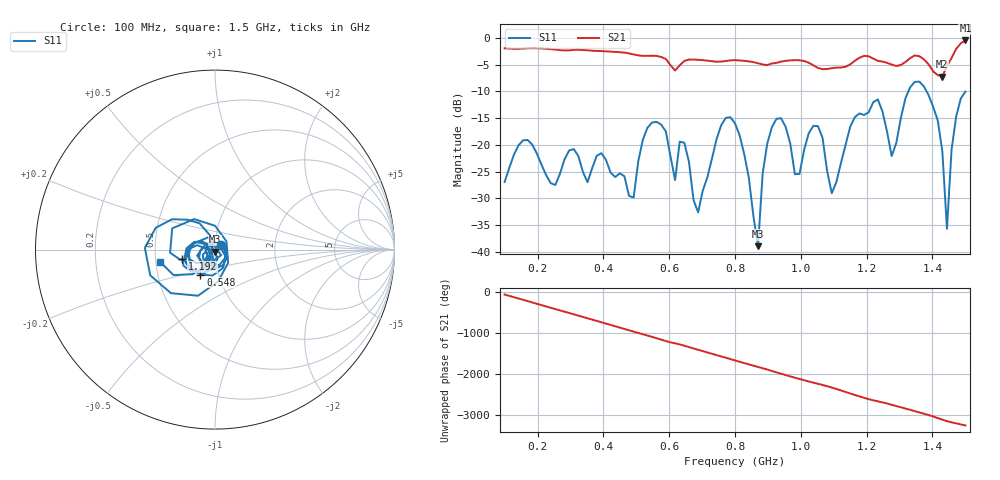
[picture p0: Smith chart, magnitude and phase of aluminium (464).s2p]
! NanoVNA-App
! Date: 2025-09-25 14:58:53
! Start: 100MHz Stop: 1,5GHz Points: 101
! S-Parameter data: F S11 S21 S12 S22
# Hz S RI R 50
!  Frequency  S11_Real  S11_Imag  S21_Real  S21_Imag  S12_Real  S12_Imag  S22_Real  S22_Imag
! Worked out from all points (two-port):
!   101 points, 100 MHz to 1.5 GHz, reference 50 ohm
!   highest |S21| = -0.46 dB at 1.5 GHz (marker M1); lowest = -7.2 dB at 1.43 GHz (marker M2)
!   |S21| within 3 dB of the highest: start of sweep to 569.6 MHz; 1.46 GHz to end of sweep (the widest 2 of 4)
!   lowest |S11| = -39.0 dB at 870 MHz (marker M3), VSWR 1.02, Z = 50.1 - j1.12 ohm
!   |S11| at or under -10 dB: start of sweep to 1.327 GHz; 1.382 GHz to end of sweep
!   S12 and S22 are empty: the file has one direction only
!   S11 on the Smith chart (normalised r, x): 100 MHz: 1.07, +0.06; 548 MHz: 0.82, -0.24; 1.192 GHz: 0.69, -0.07; 1.5 GHz: 0.53, -0.08
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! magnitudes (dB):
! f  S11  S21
! 100 MHz  -27.0  -1.9
! 156 MHz  -19.2  -2.0
! 338 MHz  -25.1  -2.2
! 492 MHz  -29.9  -3.1
! 548 MHz  -15.8  -3.3
! 576 MHz  -16.2  -3.5
! 618 MHz  -26.6  -6.1
! 646 MHz  -19.6  -4.3
! 688 MHz  -32.6  -4.1
! 800 MHz  -16.0  -4.1
! 870 MHz  -39.0  -4.7
! 912 MHz  -16.7  -4.8
! 982 MHz  -25.5  -4.1
! 1.038 GHz  -16.4  -5.1
! 1.094 GHz  -29.0  -5.7
! 1.192 GHz  -14.4  -3.3
! 1.276 GHz  -22.1  -5.0
! 1.346 GHz  -8.2  -3.3
! 1.43 GHz  -21.2  -7.2
! 1.444 GHz  -35.7  -5.2
! 1.458 GHz  -20.9  -3.7
! 1.5 GHz  -10.0  -0.5
